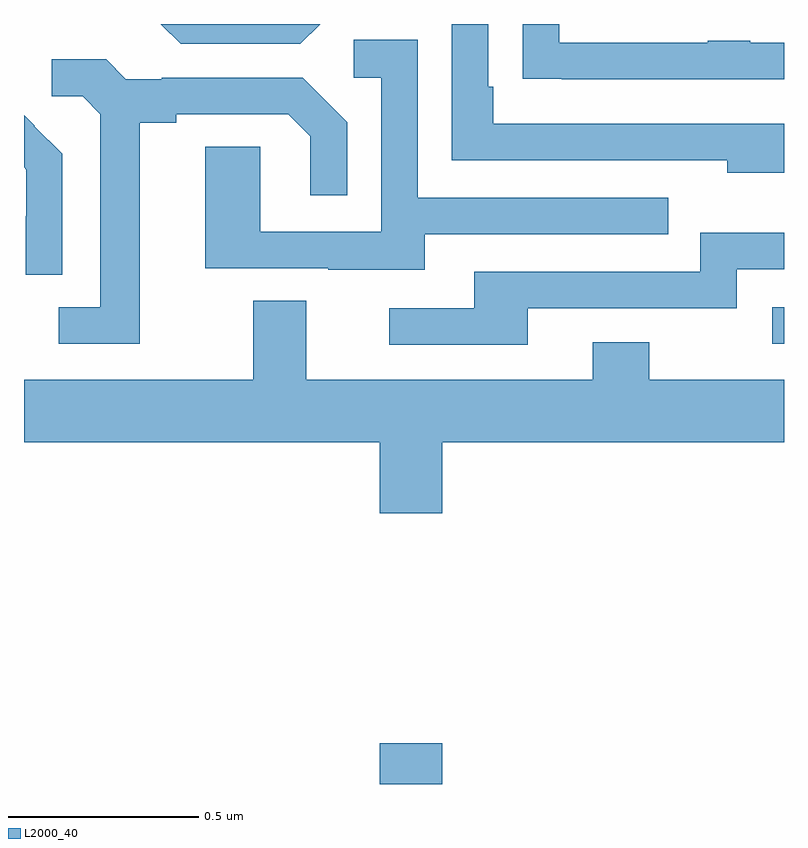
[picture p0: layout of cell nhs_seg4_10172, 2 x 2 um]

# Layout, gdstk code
import gdstk
lib = gdstk.Library(unit=1e-6, precision=1e-09)
def R(c, l, rs):  # rectangles x0, y0, x1, y1
    for r in rs: c.add(gdstk.rectangle(r[:2], r[2:], *l))
def P(c, l, *ps):  # polygons
    for p in ps: c.add(gdstk.Polygon(p, *l))
L2000_40 = (2000, 40)

nhs_seg4_10172 = lib.new_cell('nhs_seg4_10172')
R(nhs_seg4_10172, L2000_40, [(236.936,815.9,237.1,816.007), (237.969,817.059,238,817.155)])
P(nhs_seg4_10172, L2000_40, [(238,817.851),(237.911,817.851),(237.911,817.856),(237.799,817.856),(237.799,817.851),(237.409,817.851),(237.409,817.9),(237.313,817.9),(237.313,817.756),(237.415,817.756),(237.415,817.755),(238,817.755)],
  [(236.779,817.9),(236.36,817.9),(236.412,817.848),(236.727,817.848)],
  [(238,817.638),(237.235,817.638),(237.235,817.735),(237.222,817.735),(237.222,817.9),(237.126,817.9),(237.126,817.542),(237.851,817.542),(237.851,817.508),(238,817.508)],
  [(237.055,817.347),(237.695,817.347),(237.695,817.443),(237.036,817.443),(237.036,817.859),(236.868,817.859),(236.868,817.758),(236.94,817.758),(236.94,817.353),(236.622,817.353),(236.622,817.577),(236.477,817.577),(236.477,817.257),(236.801,817.257),(236.801,817.253),(237.055,817.253)],
  [(236.305,817.64),(236.401,817.64),(236.401,817.662),(236.696,817.662),(236.753,817.605),(236.753,817.449),(236.85,817.449),(236.85,817.642),(236.734,817.758),(236.362,817.758),(236.362,817.755),(236.268,817.755),(236.216,817.807),(236.073,817.807),(236.073,817.71),(236.154,817.71),(236.201,817.663),(236.201,817.155),(236.091,817.155),(236.091,817.059),(236.305,817.059)],
  [(236.1,817.558),(236.027,817.631),(236.028,817.632),(236,817.66),(236,817.523),(236.006,817.517),(236.006,817.394),(236.004,817.394),(236.004,817.24),(236.1,817.24)],
  [(237.325,817.152),(237.876,817.152),(237.876,817.254),(238,817.254),(238,817.351),(237.78,817.351),(237.78,817.248),(237.185,817.248),(237.185,817.152),(236.961,817.152),(236.961,817.056),(237.325,817.056)],
  [(237.1,816.8),(238,816.8),(238,816.964),(237.645,816.964),(237.645,817.063),(237.497,817.063),(237.497,816.964),(236.743,816.964),(236.743,817.172),(236.603,817.172),(236.603,816.964),(236,816.964),(236,816.8),(236.936,816.8),(236.936,816.612),(237.1,816.612)])

lib.write_gds('nhs_seg4_10172.gds')
